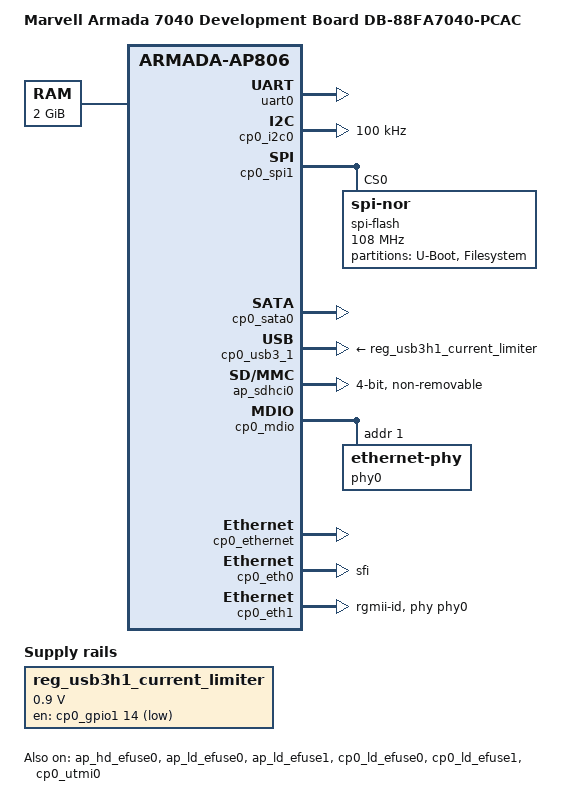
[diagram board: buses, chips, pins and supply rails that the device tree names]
// SPDX-License-Identifier: GPL-2.0+
/*
 * Copyright (C) 2018 Marvell International Ltd.
 */

/*
 * Device Tree file for Marvell Armada 7040 Development board platform
 * Boot device: SPI NOR, 0x32 (SW3)
 */

#include "armada-70x0-db.dtsi"

/ {
	model = "Marvell Armada 7040 Development Board DB-88FA7040-PCAC";
	compatible = "marvell, armada7040-pcac", "marvell,armada7040",
		     "marvell,armada-ap806-quad", "marvell,armada-ap806";
	chosen {
		stdout-path = "serial0:115200n8";
	};

	aliases {
		i2c0 = &cp0_i2c0;
		spi0 = &cp0_spi1;
		fuse0 = &ap_hd_efuse0;
		fuse1 = &ap_ld_efuse0;
		fuse2 = &ap_ld_efuse1;
		fuse3 = &cp0_ld_efuse0;
		fuse4 = &cp0_ld_efuse1;
	};

	memory@00000000 {
		device_type = "memory";
		reg = <0x0 0x0 0x0 0x80000000>;
	};

	simple-bus {
		compatible = "simple-bus";
		#address-cells = <1>;
		#size-cells = <0>;

		reg_usb3h1_current_limiter: usb3-current-limiter1 {
			compatible = "regulator-fixed";
			pinctrl-names = "default";
			pinctrl-0 = <&cp0_xhci_vbus_pins>;
			regulator-name = "reg-usb3h1-current-limiter";
			regulator-min-microvolt = <900000>;
			regulator-max-microvolt = <900000>;
			regulator-force-boot-off;
			gpio = <&cp0_gpio1 14 GPIO_ACTIVE_HIGH>; /* GPIO[46] */
		};
	};
};

&ap_pinctl {
	   /* MPP Bus:
	    * SDIO  [0-10]
	    * UART0 [11,19]
	    */
		  /* 0 1 2 3 4 5 6 7 8 9 */
	pin-func = < 1 1 1 1 1 1 1 1 1 1
		     1 3 0 0 0 0 0 0 0 3 >;
};

&uart0 {
	status = "okay";
};

&ap_hd_efuse0 {
	status = "okay";
};

&ap_ld_efuse0 {
	status = "okay";
};

&ap_ld_efuse1 {
	status = "okay";
};

&cp0_i2c0 {
	pinctrl-names = "default";
	pinctrl-0 = <&cp0_i2c0_pins>;
	status = "okay";
	clock-frequency = <100000>;
};

&cp0_pinctl {
		/* MPP Bus:
		 * RGMII0[0-11]
		 * SPI   [13-16]
		 * SATA1 [28]
		 * UART0 [29-30]
		 * PCI_RST [31]
		 * SMI	 [32,34]
		 * XSMI  [35-36]
		 * I2C	 [37-38]
		 * UART1 [40-41]
		 * USB CURRENT-LIMIT	[46]
		 * UART2 [50-51]
		 */
		/*   0   1   2   3   4   5   6   7   8   9 */
	pin-func = < 3   3   3   3   3   3   3   3   3   3
		     3   3   0   3   3   3   3   0   0   0
		     0   0   0   0   0   0   0   0   9   0xA
		     0xA 6   7   0   7   0   0   2   2   0
		     0   0   0   0   0   0   0   7   0   7
		     6   6   0   0   0   0   0   0   0   0
		     0   0   0>;

	cp0_xhci_vbus_pins: cp0-xhci-vbus-pins {
		marvell,pins = < 46 >;
		marvell,function = <0>;
	};
};

&cp0_spi1 {
	pinctrl-names = "default";
	pinctrl-0 = <&cp0_spi0_pins>;
	status = "okay";

	spi-flash@0 {
		#address-cells = <0x1>;
		#size-cells = <0x1>;
		compatible = "jedec,spi-nor", "spi-flash";
		reg = <0x0>;
		spi-max-frequency = <108000000>;

		partitions {
			compatible = "fixed-partitions";
			#address-cells = <1>;
			#size-cells = <1>;

			partition@0 {
				label = "U-Boot";
				reg = <0x0 0x200000>;
			};

			partition@400000 {
				label = "Filesystem";
				reg = <0x200000 0xe00000>;
			};
		};
	};
};

&cp0_ld_efuse0 {
	status = "okay";
};

&cp0_ld_efuse1 {
	status = "okay";
};

&cp0_sata0 {
	status = "okay";
};

&cp0_usb3_1 {
	vbus-supply = <&reg_usb3h1_current_limiter>;
	status = "okay";
};

&cp0_comphy {
	phy0 {
		phy-type = <COMPHY_TYPE_IGNORE>;
	};

	phy1 {
		phy-type = <COMPHY_TYPE_IGNORE>;
	};

	phy2 {
		phy-type = <COMPHY_TYPE_IGNORE>;
	};

	phy3 {
		phy-type = <COMPHY_TYPE_IGNORE>;
	};

	phy4 {
		phy-type = <COMPHY_TYPE_SFI0>;
		phy-speed = <COMPHY_SPEED_10_3125G>;
	};

	phy5 {
		phy-type = <COMPHY_TYPE_SATA1>;
	};
};

&ap_sdhci0 {

	status = "okay";
	bus-width = <4>;
	no-1-8-v;
	non-removable;
};

&cp0_utmi0 {
	status = "okay";
};

&cp0_mdio {
	status = "okay";
	phy0: ethernet-phy@0 {
		reg = <1>;
	};
};

&cp0_ethernet {
	status = "okay";
};

&cp0_eth0 {
	status = "okay";
	phy-mode = "sfi"; /* lane-4*/
};

&cp0_eth1 {
	status = "okay";
	phy = <&phy0>;
	phy-mode = "rgmii-id"; /* rgmii-0*/
};
